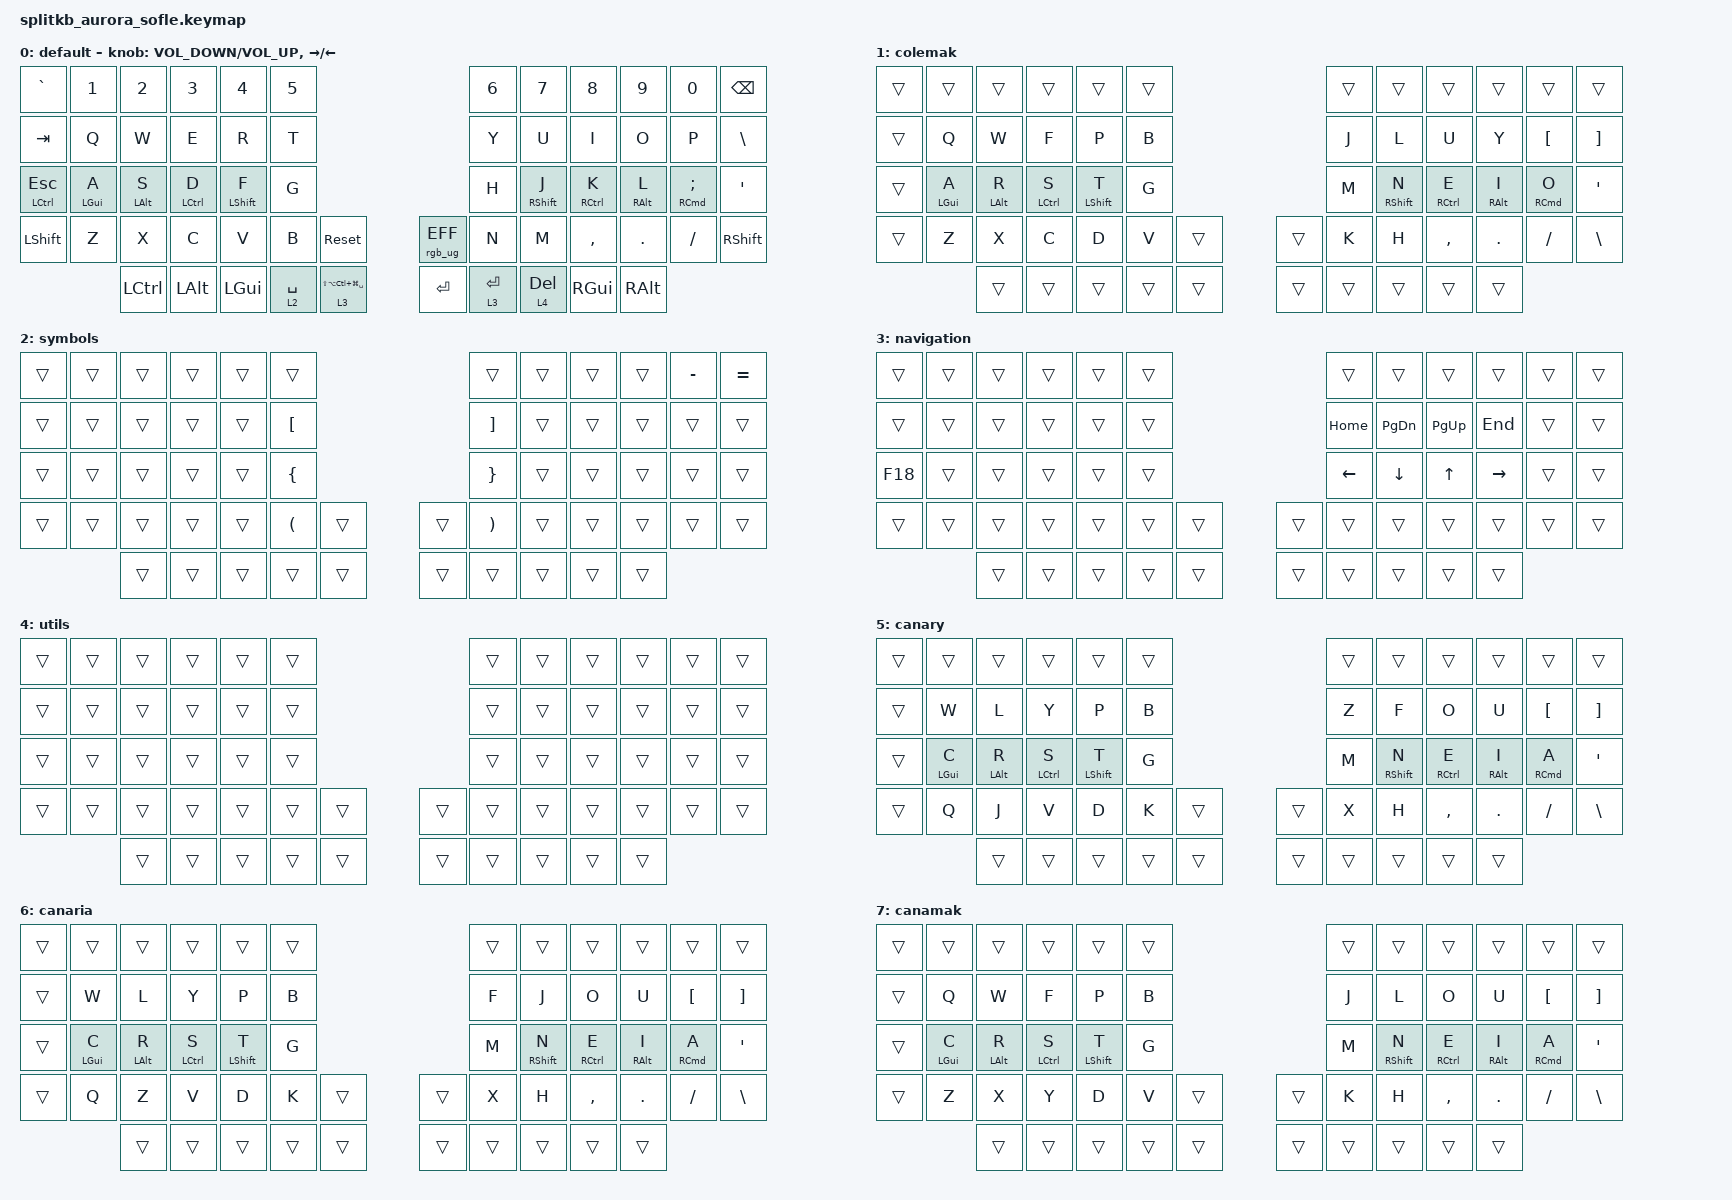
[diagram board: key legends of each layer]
#include <behaviors.dtsi>
#include <dt-bindings/zmk/keys.h>
#include <dt-bindings/zmk/rgb.h>

&led_strip {
    chain-length = <35>; // Uncomment if using both per-key and underglow LEDs
};

&mt {
    flavor = "balanced";
    tapping-term-ms = <250>;
    quick-tap-ms = <0>;
};

/ {
    behaviors {
        mtl: mtl {
            compatible = "zmk,behavior-hold-tap";
            bindings = <&kp>, <&kp>;

            #binding-cells = <2>;
            tapping-term-ms = <250>;
            quick-tap-ms = <200>;
            flavor = "balanced";
            hold-trigger-key-positions = <54 53 55 56 31 32 33 34>;
            hold-trigger-on-release;
        };

        mtr: mtr {
            compatible = "zmk,behavior-hold-tap";
            bindings = <&kp>, <&kp>;

            #binding-cells = <2>;
            tapping-term-ms = <250>;
            quick-tap-ms = <200>;
            flavor = "balanced";
            hold-trigger-key-positions = <53 54 55 56 28 27 26 25>;
            hold-trigger-on-release;
        };
    };

    keymap {
        compatible = "zmk,keymap";

        default {
            bindings = <
&kp GRAVE       &kp N1       &kp N2       &kp N3        &kp N4         &kp N5                                                       &kp N6       &kp N7         &kp N8        &kp N9       &kp N0          &kp BACKSPACE
&kp TAB         &kp Q        &kp W        &kp E         &kp R          &kp T                                                        &kp Y        &kp U          &kp I         &kp O        &kp P           &kp BACKSLASH
&mt LCTRL ESC   &mtl LGUI A  &mtl LALT S  &mtl LCTRL D  &mtl LSHIFT F  &kp G                                                        &kp H        &mtr RSHIFT J  &mtr RCTRL K  &mtr RALT L  &mtr RCMD SEMI  &kp SQT
&kp LEFT_SHIFT  &kp Z        &kp X        &kp C         &kp V          &kp B        &sys_reset                     &rgb_ug RGB_EFF  &kp N        &kp M          &kp COMMA     &kp DOT      &kp FSLH        &kp RSHFT
                             &kp LCTRL    &kp LEFT_ALT  &kp LGUI       &lt 2 SPACE  &lt 3 LS(LA(LC(LG(SPACE))))    &kp RET          &lt 3 ENTER  &lt 4 DEL      &kp RGUI      &kp RALT
            >;

            sensor-bindings =
                <&inc_dec_kp C_VOLUME_DOWN C_VOLUME_UP>,
                <&inc_dec_kp RIGHT LEFT>;
        };

        colemak {
            bindings = <
&trans  &trans       &trans       &trans        &trans         &trans                    &trans  &trans         &trans        &trans       &trans       &trans
&trans  &kp Q        &kp W        &kp F         &kp P          &kp B                     &kp J   &kp L          &kp U         &kp Y        &kp LBKT     &kp RBKT
&trans  &mtl LGUI A  &mtl LALT R  &mtl LCTRL S  &mtl LSHIFT T  &kp G                     &kp M   &mtr RSHIFT N  &mtr RCTRL E  &mtr RALT I  &mtr RCMD O  &kp APOS
&trans  &kp Z        &kp X        &kp C         &kp D          &kp V   &trans    &trans  &kp K   &kp H          &kp COMMA     &kp DOT      &kp FSLH     &kp BACKSLASH
                     &trans       &trans        &trans         &trans  &trans    &trans  &trans  &trans         &trans        &trans
            >;
        };

        symbols {
            bindings = <
&trans  &trans  &trans  &trans  &trans  &trans                      &trans    &trans  &trans  &trans  &kp MINUS  &kp EQUAL
&trans  &trans  &trans  &trans  &trans  &kp LBKT                    &kp RBKT  &trans  &trans  &trans  &trans     &trans
&trans  &trans  &trans  &trans  &trans  &kp LBRC                    &kp RBRC  &trans  &trans  &trans  &trans     &trans
&trans  &trans  &trans  &trans  &trans  &kp LPAR  &trans    &trans  &kp RPAR  &trans  &trans  &trans  &trans     &trans
                &trans  &trans  &trans  &trans    &trans    &trans  &trans    &trans  &trans  &trans
            >;
        };

        navigation {
            bindings = <
&trans   &trans  &trans  &trans  &trans  &trans                    &trans    &trans         &trans       &trans     &trans  &trans
&trans   &trans  &trans  &trans  &trans  &trans                    &kp HOME  &kp PAGE_DOWN  &kp PAGE_UP  &kp END    &trans  &trans
&kp F18  &trans  &trans  &trans  &trans  &trans                    &kp LEFT  &kp DOWN       &kp UP       &kp RIGHT  &trans  &trans
&trans   &trans  &trans  &trans  &trans  &trans  &trans    &trans  &trans    &trans         &trans       &trans     &trans  &trans
                 &trans  &trans  &trans  &trans  &trans    &trans  &trans    &trans         &trans       &trans
            >;
        };

        utils {
            bindings = <
&trans  &trans  &trans  &trans  &trans  &trans                    &trans  &trans  &trans  &trans  &trans  &trans
&trans  &trans  &trans  &trans  &trans  &trans                    &trans  &trans  &trans  &trans  &trans  &trans
&trans  &trans  &trans  &trans  &trans  &trans                    &trans  &trans  &trans  &trans  &trans  &trans
&trans  &trans  &trans  &trans  &trans  &trans  &trans    &trans  &trans  &trans  &trans  &trans  &trans  &trans
                &trans  &trans  &trans  &trans  &trans    &trans  &trans  &trans  &trans  &trans
            >;
        };

        canary {
            bindings = <
&trans  &trans       &trans       &trans        &trans         &trans                    &trans  &trans         &trans        &trans       &trans       &trans
&trans  &kp W        &kp L        &kp Y         &kp P          &kp B                     &kp Z   &kp F          &kp O         &kp U        &kp LBKT     &kp RBKT
&trans  &mtl LGUI C  &mtl LALT R  &mtl LCTRL S  &mtl LSHIFT T  &kp G                     &kp M   &mtr RSHIFT N  &mtr RCTRL E  &mtr RALT I  &mtr RCMD A  &kp APOS
&trans  &kp Q        &kp J        &kp V         &kp D          &kp K   &trans    &trans  &kp X   &kp H          &kp COMMA     &kp DOT      &kp FSLH     &kp BACKSLASH
                     &trans       &trans        &trans         &trans  &trans    &trans  &trans  &trans         &trans        &trans
            >;
        };

        canaria {
            bindings = <
&trans  &trans       &trans       &trans        &trans         &trans                    &trans  &trans         &trans        &trans       &trans       &trans
&trans  &kp W        &kp L        &kp Y         &kp P          &kp B                     &kp F   &kp J          &kp O         &kp U        &kp LBKT     &kp RBKT
&trans  &mtl LGUI C  &mtl LALT R  &mtl LCTRL S  &mtl LSHIFT T  &kp G                     &kp M   &mtr RSHIFT N  &mtr RCTRL E  &mtr RALT I  &mtr RCMD A  &kp APOS
&trans  &kp Q        &kp Z        &kp V         &kp D          &kp K   &trans    &trans  &kp X   &kp H          &kp COMMA     &kp DOT      &kp FSLH     &kp BACKSLASH
                     &trans       &trans        &trans         &trans  &trans    &trans  &trans  &trans         &trans        &trans
            >;
        };

        canamak {
            bindings = <
&trans  &trans       &trans       &trans        &trans         &trans                    &trans  &trans         &trans        &trans       &trans       &trans
&trans  &kp Q        &kp W        &kp F         &kp P          &kp B                     &kp J   &kp L          &kp O         &kp U        &kp LBKT     &kp RBKT
&trans  &mtl LGUI C  &mtl LALT R  &mtl LCTRL S  &mtl LSHIFT T  &kp G                     &kp M   &mtr RSHIFT N  &mtr RCTRL E  &mtr RALT I  &mtr RCMD A  &kp APOS
&trans  &kp Z        &kp X        &kp Y         &kp D          &kp V   &trans    &trans  &kp K   &kp H          &kp COMMA     &kp DOT      &kp FSLH     &kp BACKSLASH
                     &trans       &trans        &trans         &trans  &trans    &trans  &trans  &trans         &trans        &trans
            >;
        };
    };
};
